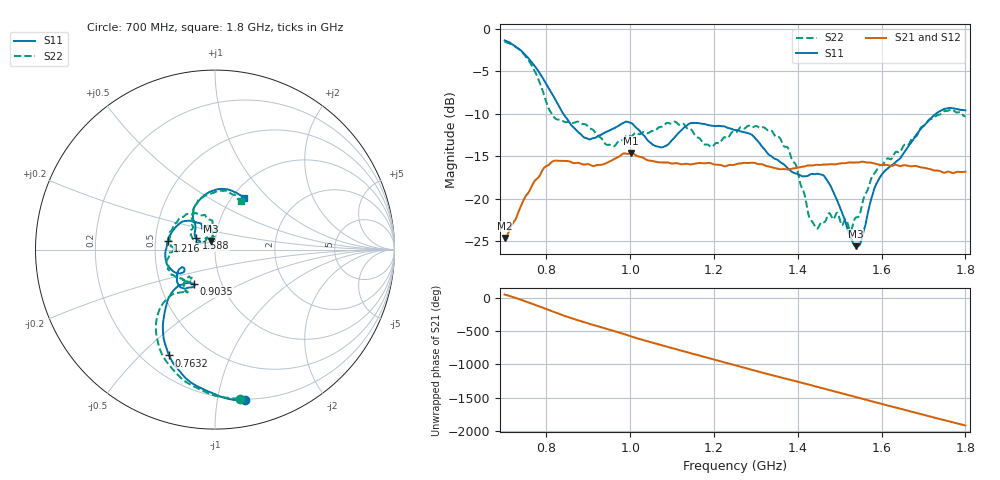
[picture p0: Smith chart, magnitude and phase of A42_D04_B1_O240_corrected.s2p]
! Created with skrf 1.9.0 (http://scikit-rf.org).
# Hz S RI R 50.0
!freq ReS11 ImS11 ReS21 ImS21 ReS12 ImS12 ReS22 ImS22
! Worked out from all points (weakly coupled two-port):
!   1601 points, 700 MHz to 1.8 GHz, reference 50 ohm
!   highest |S21| = -14.61 dB at 1.002 GHz (marker M1); lowest = -24.6 dB at 700.7 MHz (marker M2)
!   lowest |S11| = -25.6 dB at 1.538 GHz (marker M3), VSWR 1.11, Z = 47.5 + j4.52 ohm
!   |S11| at or under -10 dB: 840.3 MHz to 1.729 GHz (888.8 MHz wide, 69.2 % of centre)
!   |S22| runs from -23.8 to -1.5 dB; largest |S21 - S12| = 0.0034
!   S11 on the Smith chart (normalised r, x): 700 MHz: 0.19, -1.20; 763.2 MHz: 0.31, -0.61; 903.5 MHz: 0.74, -0.30; 1.216 GHz: 0.58, +0.06; 1.588 GHz: 0.80, +0.10; 1.8 GHz: 1.14, +0.74
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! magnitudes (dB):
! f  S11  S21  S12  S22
! 700 MHz  -1.3  -24.6  -24.4  -1.5
! 700.7 MHz  -1.4  -24.6  -24.3  -1.5
! 763.2 MHz  -3.8  -18.7  -18.7  -4.2
! 818.2 MHz  -8.1  -15.5  -15.6  -10.4
! 883.6 MHz  -12.5  -15.9  -15.8  -11.2
! 903.5 MHz  -13.0  -16.0  -15.9  -11.7
! 957.8 MHz  -11.8  -15.4  -15.4  -13.8
! 1.002 GHz  -11.1  -14.6  -14.7  -12.6
! 1.067 GHz  -13.9  -15.7  -15.6  -11.6
! 1.144 GHz  -11.1  -15.9  -15.9  -11.8
! 1.216 GHz  -11.4  -16.0  -16.0  -13.3
! 1.25 GHz  -11.9  -16.0  -15.9  -12.2
! 1.357 GHz  -15.6  -16.5  -16.4  -12.8
! 1.395 GHz  -17.0  -16.4  -16.4  -16.0
! 1.434 GHz  -17.1  -16.1  -16.0  -22.6
! 1.473 GHz  -18.0  -15.9  -15.9  -21.8
! 1.538 GHz  -25.6  -15.7  -15.7  -22.2
! 1.551 GHz  -24.9  -15.6  -15.7  -21.2
! 1.588 GHz  -18.2  -15.9  -15.9  -16.7
! 1.617 GHz  -16.3  -16.1  -16.0  -15.2
! 1.731 GHz  -9.9  -16.7  -16.7  -10.2
! 1.8 GHz  -9.6  -16.8  -16.8  -10.2
